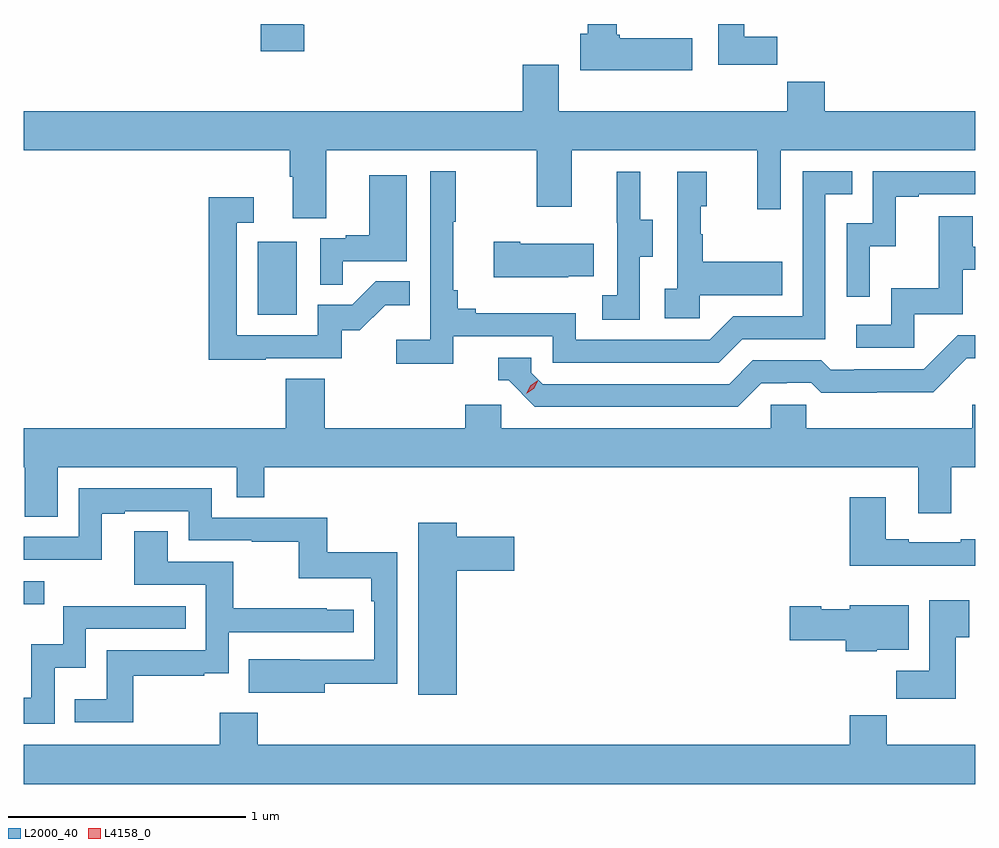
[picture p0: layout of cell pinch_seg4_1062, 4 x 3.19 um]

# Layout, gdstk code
import gdstk
lib = gdstk.Library(unit=1e-6, precision=1e-09)
def R(c, l, rs):  # rectangles x0, y0, x1, y1
    for r in rs: c.add(gdstk.rectangle(r[:2], r[2:], *l))
def P(c, l, *ps):  # polygons
    for p in ps: c.add(gdstk.Polygon(p, *l))
L2000_40 = (2000, 40)
L4158_0 = (4158, 0)

pinch_seg4_1062 = lib.new_cell('pinch_seg4_1062')
R(pinch_seg4_1062, L2000_40, [(839.882,764.276,839.968,764.373), (840.866,765.492,841.03,765.799)])
P(pinch_seg4_1062, L2000_40, [(843.05,766.66),(842.911,766.66),(842.911,766.714),(842.801,766.714),(842.801,766.542),(843.05,766.542)],
  [(842.692,766.654),(842.388,766.654),(842.388,766.668),(842.374,766.668),(842.374,766.714),(842.252,766.714),(842.252,766.674),(842.222,766.674),(842.222,766.52),(842.692,766.52)],
  [(841.061,766.711),(841.056,766.711),(841.056,766.714),(840.878,766.714),(840.878,766.599),(841.061,766.599)],
  [(841.153,766.184),(842.038,766.184),(842.038,765.945),(842.185,765.945),(842.185,766.184),(842.966,766.184),(842.966,765.936),(843.063,765.936),(843.063,766.184),(843.882,766.184),(843.882,766.348),(843.248,766.348),(843.248,766.472),(843.091,766.472),(843.091,766.348),(842.131,766.348),(842.131,766.543),(841.979,766.543),(841.979,766.348),(839.882,766.348),(839.882,766.184),(841.001,766.184),(841.001,766.072),(841.013,766.072),(841.013,765.898),(841.153,765.898)],
  [(841.688,765.402),(842.106,765.402),(842.106,765.291),(842.803,765.291),(842.902,765.39),(843.252,765.39),(843.252,765.999),(843.365,765.999),(843.365,766.095),(843.156,766.095),(843.156,765.486),(842.865,765.486),(842.766,765.387),(842.202,765.387),(842.202,765.499),(841.783,765.499),(841.783,765.518),(841.706,765.518),(841.706,765.595),(841.687,765.595),(841.687,765.883),(841.699,765.883),(841.699,766.096),(841.59,766.096),(841.59,765.388),(841.449,765.388),(841.449,765.286),(841.688,765.286)],
  [(843.438,765.779),(843.548,765.779),(843.548,765.987),(843.643,765.987),(843.643,765.999),(843.882,765.999),(843.882,766.095),(843.45,766.095),(843.45,765.876),(843.342,765.876),(843.342,765.567),(843.438,765.567)],
  [(842.724,765.575),(843.071,765.575),(843.071,765.715),(842.737,765.715),(842.737,765.83),(842.727,765.83),(842.727,765.948),(842.752,765.948),(842.752,766.093),(842.628,766.093),(842.628,765.602),(842.577,765.602),(842.577,765.477),(842.724,765.477)],
  [(842.472,765.736),(842.527,765.736),(842.527,765.891),(842.473,765.891),(842.473,766.093),(842.375,766.093),(842.375,765.879),(842.376,765.879),(842.376,765.575),(842.313,765.575),(842.313,765.472),(842.472,765.472)],
  [(841.223,765.717),(841.492,765.717),(841.492,766.078),(841.334,766.078),(841.334,765.826),(841.235,765.826),(841.235,765.813),(841.128,765.813),(841.128,765.619),(841.223,765.619)],
  [(840.899,765.309),(841.218,765.309),(841.218,765.426),(841.294,765.426),(841.401,765.533),(841.505,765.533),(841.505,765.632),(841.361,765.632),(841.263,765.534),(841.119,765.534),(841.119,765.405),(840.777,765.405),(840.777,765.879),(840.85,765.879),(840.85,765.985),(840.661,765.985),(840.661,765.304),(840.899,765.304)],
  [(843.624,765.495),(843.829,765.495),(843.829,765.681),(843.882,765.681),(843.882,765.777),(843.871,765.777),(843.871,765.907),(843.727,765.907),(843.727,765.604),(843.528,765.604),(843.528,765.45),(843.381,765.45),(843.381,765.354),(843.624,765.354)],
  [(842.171,765.653),(842.279,765.653),(842.279,765.79),(841.969,765.79),(841.969,765.798),(841.857,765.798),(841.857,765.65),(842.171,765.65)],
  [(842.983,765.204),(843.09,765.204),(843.09,765.207),(843.193,765.207),(843.235,765.165),(843.468,765.165),(843.468,765.167),(843.704,765.167),(843.846,765.309),(843.882,765.309),(843.882,765.405),(843.807,765.405),(843.666,765.264),(843.373,765.264),(843.373,765.261),(843.274,765.261),(843.235,765.3),(842.946,765.3),(842.847,765.201),(842.064,765.201),(842.016,765.249),(842.016,765.312),(841.877,765.312),(841.877,765.216),(841.92,765.216),(842.031,765.105),(842.884,765.105)],
  [(840.025,764.852),(840.777,764.852),(840.777,764.725),(840.893,764.725),(840.893,764.852),(843.641,764.852),(843.641,764.658),(843.781,764.658),(843.781,764.852),(843.882,764.852),(843.882,765.114),(843.869,765.114),(843.869,765.016),(843.171,765.016),(843.171,765.114),(843.021,765.114),(843.021,765.016),(841.89,765.016),(841.89,765.114),(841.739,765.114),(841.739,765.016),(841.148,765.016),(841.148,765.224),(840.983,765.224),(840.983,765.016),(839.882,765.016),(839.882,764.852),(839.886,764.852),(839.886,764.644),(840.025,764.644)],
  [(841.147,763.942),(841.452,763.942),(841.452,764.494),(841.159,764.494),(841.159,764.64),(840.672,764.64),(840.672,764.763),(840.114,764.763),(840.114,764.559),(839.882,764.559),(839.882,764.463),(840.006,764.463),(840.006,764.462),(840.211,764.462),(840.211,764.655),(840.307,764.655),(840.307,764.667),(840.576,764.667),(840.576,764.544),(840.841,764.544),(840.841,764.539),(841.038,764.539),(841.038,764.384),(841.343,764.384),(841.343,764.288),(841.356,764.288),(841.356,764.043),(841.043,764.043),(841.043,764.044),(840.829,764.044),(840.829,763.904),(841.147,763.904)],
  [(843.882,764.548),(843.821,764.548),(843.821,764.535),(843.601,764.535),(843.601,764.548),(843.505,764.548),(843.505,764.725),(843.353,764.725),(843.353,764.438),(843.882,764.438)],
  [(841.702,764.417),(841.945,764.417),(841.945,764.559),(841.702,764.559),(841.702,764.617),(841.541,764.617),(841.541,763.896),(841.702,763.896)],
  [(840.343,763.974),(840.641,763.974),(840.641,763.985),(840.744,763.985),(840.744,764.157),(841.27,764.157),(841.27,764.253),(841.157,764.253),(841.157,764.258),(840.764,764.258),(840.764,764.454),(840.487,764.454),(840.487,764.582),(840.347,764.582),(840.347,764.358),(840.648,764.358),(840.648,764.082),(840.232,764.082),(840.232,763.876),(840.097,763.876),(840.097,763.779),(840.343,763.779)],
  [(843.799,764.137),(843.856,764.137),(843.856,764.293),(843.689,764.293),(843.689,763.996),(843.55,763.996),(843.55,763.878),(843.799,763.878)],
  [(843.468,764.084),(843.601,764.084),(843.601,764.272),(843.354,764.272),(843.354,764.254),(843.234,764.254),(843.234,764.267),(843.102,764.267),(843.102,764.125),(843.338,764.125),(843.338,764.078),(843.468,764.078)],
  [(840.012,764.009),(840.144,764.009),(840.144,764.172),(840.563,764.172),(840.563,764.268),(840.048,764.268),(840.048,764.107),(839.915,764.107),(839.915,763.882),(839.882,763.882),(839.882,763.773),(840.012,763.773)],
  [(843.882,763.684),(843.509,763.684),(843.509,763.808),(843.353,763.808),(843.353,763.684),(840.866,763.684),(840.866,763.819),(840.706,763.819),(840.706,763.684),(839.882,763.684),(839.882,763.52),(843.882,763.52)])
P(pinch_seg4_1062, L4158_0, [(841.995,765.161),(841.995,765.161),(842.011,765.194),(842.041,765.214),(842.042,765.214),(842.042,765.213),(842.026,765.181),(841.995,765.161)])

lib.write_gds('pinch_seg4_1062.gds')
